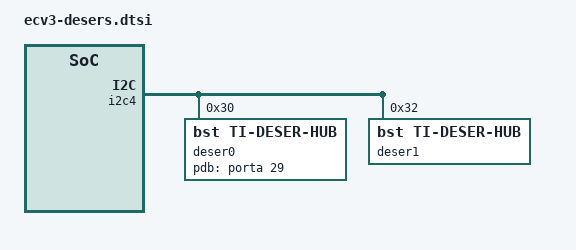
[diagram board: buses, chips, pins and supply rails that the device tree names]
/*
   default deser config for ecu
   deser0@i2c4 0x30:    ti960
   deser1@i2c4 0x32:    ti960
   deser2@i2c4 0x34:    ti960
*/

&i2c4 {
    #address-cells = <1>;
    #size-cells = <0>;

    deser0: ti960@30 {
        compatible = "bst,ti-deser-hub";
        type = "ti960";
        pdb-gpio = <&porta 29 0>;
        reg = <0x30>;
        i2c-port = <0>;
        csi2-port = <0>;
        lane-speed = <1600>;
    };

    deser1: ti960@32 {
        compatible = "bst,ti-deser-hub";
        type = "ti960";
        reg = <0x32>;
        i2c-port = <0>;
        csi2-port = <0>;
        lane-speed = <1600>;
    };

    deser2: ti960@34 {
        compatible = "bst,ti-deser-hub";
        type = "ti960";
        reg = <0x34>;
        i2c-port = <0>;
        csi2-port = <0>;
        lane-speed = <1600>;
        status = "disable";
    };
};

#include "../common/deser.dtsi"
